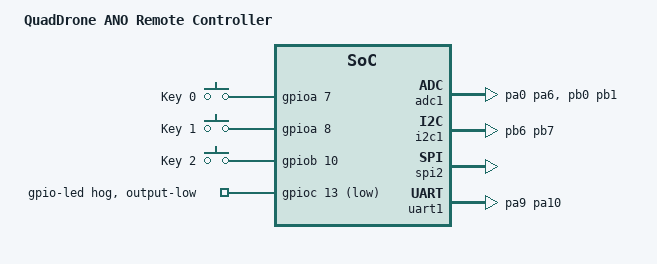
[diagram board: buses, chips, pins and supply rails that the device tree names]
/*
 * Copyright (c) 2024 QuadDrone Project. SPDX-License-Identifier: Apache-2.0
 */

/dts-v1/;
#include <dt-bindings/zephyr/led.h>
#include <dt-bindings/gpio/gpio.h>
#include <dt-bindings/pinctrl/stm32-pinctrl.h>
#include "quaddrone_remote-pinctrl.dtsi"

/ {
	model = "QuadDrone ANO Remote Controller";
	compatible = "vendor,quaddrone-remote";

	/* 72MHz clock configuration */
	clocks {
		compatible = "st,stm32f103-rcc";
		status = "okay";

		clocks {
			#address-cells = <1>;
			#size-cells = <1>;
			ranges = <0>;

			clk_hse: hse {
				#clock-cells = <0>;
				compatible = "fixed-clock";
				clock-frequency = <8000000>;
			};

			clk_pll: pll {
				#clock-cells = <0>;
				compatible = "st,stm32f103-pll-clock";
				clocks = <&clk_hse>;
				pll-m = <1>;
				pll-n = <9>;
				pll-p = <2>;
				pll-q = <7>;
				st,clkdiv = <3>;
			};
		};
	};

	chosen {
		zephyr,console = &uart1;
		zephyr,shell-uart = &uart1;
		zephyr,sram = &sram0;
		zephyr,flash = &flash0;
	};

	aliases {
		led0 = &led0;
	};

	led0: led {
		gpios = <&gpioc 13 GPIO_ACTIVE_LOW>;
	};

	gpio_keys {
		compatible = "gpio-keys";
		key0: button-key-0 {
			label = "Key 0";
			gpios = <&gpioa 7 GPIO_PULL_UP>;
			linux,code = <0x100>;
		};
		key1: button-key-1 {
			label = "Key 1";
			gpios = <&gpioa 8 GPIO_PULL_UP>;
			linux,code = <0x101>;
		};
		key2: button-key-2 {
			label = "Key 2";
			gpios = <&gpiob 10 GPIO_PULL_UP>;
			linux,code = <0x102>;
		};
	};

	gpio {
		compatible = "st,stm32f103-pinctrl";
		gpio-controller;
		#gpio-cells = <2>;
	};
};

&adc1 {
	status = "okay";
	pinctrl-0 = <&adc1_pa0_pa6>, <&adc1_pb0_pb1>;
	pinctrl-names = "default";
};

&i2c1 {
	status = "okay";
	pinctrl-0 = <&i2c1_pb6_pb7>;
	pinctrl-names = "default";
};

&spi2 {
	status = "okay";
	pinctrl-0 = <&spi2_pb13_14_15>;
	pinctrl-names = "default";
};

&uart1 {
	status = "okay";
	pinctrl-0 = <&uart1_pa9_pa10>;
	pinctrl-names = "default";
};

&pll {
	clocks = <&clk_pll>;
	status = "okay";
};

&gpioc {
	gpio-led {
		gpio-hog;
		gpios = <13 GPIO_ACTIVE_LOW>;
		output-low;
	};
};
